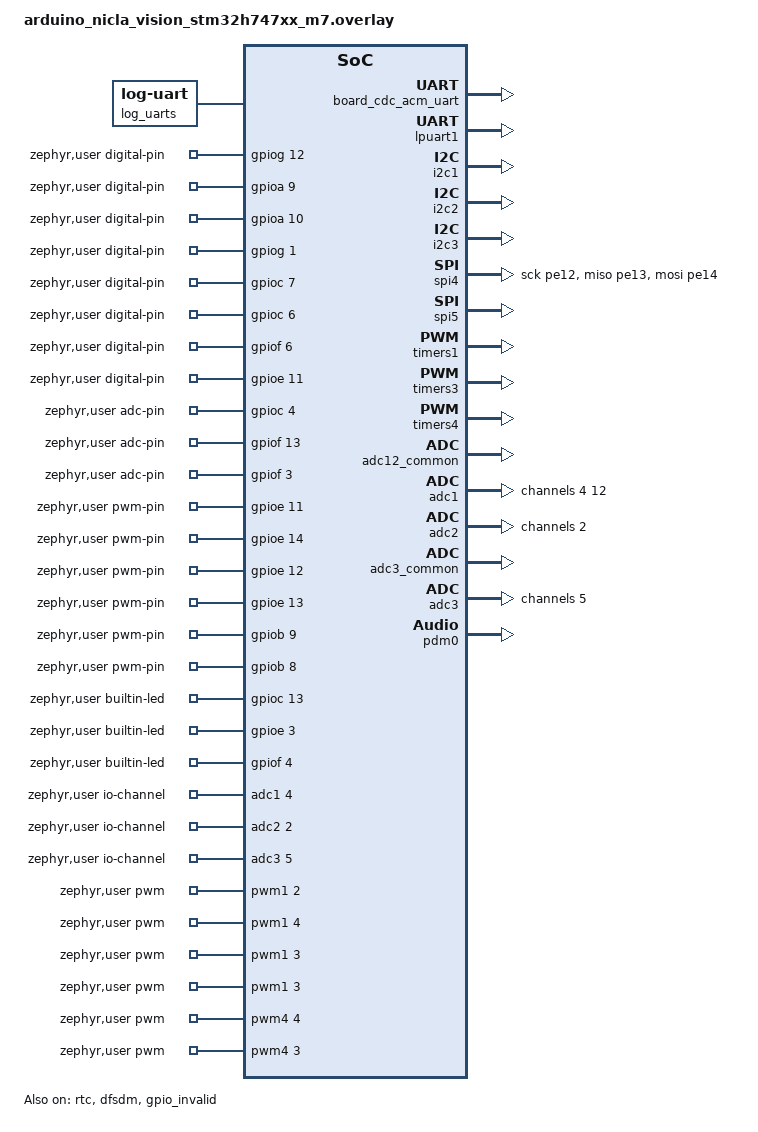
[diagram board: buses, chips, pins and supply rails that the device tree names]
/*
 * Copyright (c) Arduino s.r.l. and/or its affiliated companies
 *
 * SPDX-License-Identifier: Apache-2.0
 */

#include <zephyr/dt-bindings/pwm/stm32_pwm.h>

/* USB CDC-ACM UART for console */
&zephyr_udc0 {
    board_cdc_acm_uart: board_cdc_acm_uart {
        compatible = "zephyr,cdc-acm-uart";
        status = "okay";
    };
};

&lpuart1 {
	status = "okay";
    /* lpuart1 is not set as deferred-init to catch early boot logs since it is assigned to zephyr,console */
};

/* I2C buses */
&i2c1 {
    status = "okay";
    zephyr,deferred-init;
};

&i2c2 {
    status = "okay";
    zephyr,deferred-init;
};

&i2c3 {
    status = "okay";
    zephyr,deferred-init;
};

&gc2145 {
    zephyr,deferred-init;
};

&pwmclock {
    status = "okay";
    zephyr,deferred-init;
};

&dcmi {
    zephyr,deferred-init;

    dmas = <&dma1 1 75 (STM32_DMA_PERIPH_TO_MEMORY | STM32_DMA_PERIPH_NO_INC |
            STM32_DMA_MEM_INC | STM32_DMA_PERIPH_32BITS | STM32_DMA_MEM_32BITS |
            STM32_DMA_PRIORITY_HIGH) STM32_DMA_FIFO_FULL>;
};

/* SPI buses */
&spi4 {
    status = "okay";
    zephyr,deferred-init;
    pinctrl-0 = <&spi4_sck_pe12 &spi4_miso_pe13 &spi4_mosi_pe14>;
    pinctrl-names = "default";
};

&spi5 {
    status = "okay";
    zephyr,deferred-init;
};

&rtc {
    status = "okay";

    clocks = <&rcc STM32_CLOCK(APB4, 16U)>,
             <&rcc STM32_SRC_LSE RTC_SEL(1)>;
};

/* PWM Timers */
&timers1 {
    status = "okay";
    st,prescaler = <0>;

    pwm1: pwm {
        status = "okay";
        zephyr,deferred-init;
        pinctrl-0 = <>;
        pinctrl-1 = <>;
        pinctrl-2 = <&tim1_ch2_pe11 &tim1_ch4_pe14 &tim1_ch3n_pe12 &tim1_ch3_pe13>;
        pinctrl-names = "default", "sleep", "arduino";
    };
};

&timers3 {
	status = "okay";
	st,prescaler = <0>;

	cam_clock_pwm: pwm {
		status = "okay";
		zephyr,deferred-init;
		pinctrl-0 = <>;
		pinctrl-1 = <>;
		pinctrl-2 = <&tim3_ch2_pa7>;
		pinctrl-names = "default", "sleep", "arduino";
	};
};

&timers4 {
    status = "okay";
    st,prescaler = <100>;

    pwm4: pwm {
        status = "okay";
        zephyr,deferred-init;
        pinctrl-0 = <>;
        pinctrl-1 = <>;
        pinctrl-2 = <&tim4_ch4_pb9 &tim4_ch3_pb8>;
        pinctrl-names = "default", "sleep", "arduino";
    };
};

&adc12_common {
	st,adc-prescaler = <4>;
	st,adc-clock-source = "SYNC";
	status = "okay";
};

&adc1 {
    zephyr,deferred-init;
    pinctrl-0 = <>;
    pinctrl-1 = <>;
    pinctrl-2 = <&adc1_inp4_pc4>;
    pinctrl-names = "default", "sleep", "arduino";
    status = "okay";

    #address-cells = <1>;
    #size-cells = <0>;

    channel@4 {
        reg = <4>;
        zephyr,gain = "ADC_GAIN_1";
        zephyr,reference = "ADC_REF_INTERNAL";
        zephyr,acquisition-time = <ADC_ACQ_TIME_MAX>;
        zephyr,resolution = <16>;
    };

    channel@12 {
        reg = <12>;
        zephyr,gain = "ADC_GAIN_1";
        zephyr,reference = "ADC_REF_INTERNAL";
        zephyr,acquisition-time = <ADC_ACQ_TIME_MAX>;
        zephyr,resolution = <16>;
    };
};

&adc2 {
    zephyr,deferred-init;
    pinctrl-0 = <>;
    pinctrl-1 = <>;
    pinctrl-2 = <&adc2_inp2_pf13>;
    pinctrl-names = "default", "sleep", "arduino";
    status = "okay";

    #address-cells = <1>;
    #size-cells = <0>;

    channel@2 {
        reg = <2>;
        zephyr,gain = "ADC_GAIN_1";
        zephyr,reference = "ADC_REF_INTERNAL";
        zephyr,acquisition-time = <ADC_ACQ_TIME_MAX>;
        zephyr,resolution = <16>;
    };
};

&adc3_common {
	st,adc-prescaler = <4>;
	st,adc-clock-source = "SYNC";
	status = "okay";
};

&adc3 {
    zephyr,deferred-init;
    pinctrl-0 = <>;
    pinctrl-1 = <>;
    pinctrl-2 = <&adc3_inp5_pf3>;
    pinctrl-names = "default", "sleep", "arduino";
    status = "okay";

    #address-cells = <1>;
    #size-cells = <0>;

    channel@5 {
        reg = <5>;
        zephyr,gain = "ADC_GAIN_1";
        zephyr,reference = "ADC_REF_INTERNAL";
        zephyr,acquisition-time = <ADC_ACQ_TIME_MAX>;
        zephyr,resolution = <16>;
    };
};

/ {

    chosen {
        zephyr,console = &lpuart1;
        zephyr,shell-uart = &lpuart1;
        zephyr,log-uart = &log_uarts;
        arduino,camera-clock = &pwmclock;
    };

	log_uarts: log_uarts {
		compatible = "zephyr,log-uart";
		uarts = <&lpuart1 &board_cdc_acm_uart>;
	};

    /* used to overcome problems with _C analog pins */
    gpio_invalid: gpio@deadbeef {
        compatible = "vnd,gpio";
        gpio-controller;
        reg = <0xdeadbeef 0x1000>;
        #gpio-cells = <0x2>;
        status = "okay";
    };
};

/*
 * Custom partition layout for Arduino Core compatibility:
 * - mcuboot: 256KB bootloader
 * - image-0: 640KB loader slot
 * - user_sketch: rest of Flash
 */

&flash0 {
	reg = <0x8000000 DT_SIZE_K(2048)>;     /* assign all Flash to the M7 */
	status = "okay";

	partitions {
		slot0_partition: partition@40000 {
			compatible = "zephyr,mapped-partition";
			label = "image-0";
			reg = <0x00040000 0x000A0000>;
		};

		user_sketch: partition@e0000 {
			compatible = "zephyr,mapped-partition";
			label = "user_sketch";
			reg = <0x000E0000 0x00120000>;
		};
	};
};

/ {
    zephyr,user {
        digital-pin-gpios = <&gpiog 12 GPIO_ACTIVE_HIGH>, /* D0 D0 */
                            <&gpioa 9 GPIO_ACTIVE_HIGH>, /* D1 D1 TX */
                            <&gpioa 10 GPIO_ACTIVE_HIGH>, /* D2 D2 RX */
                            <&gpiog 1 GPIO_ACTIVE_HIGH>, /* D3 D3 */
                            <&gpioc 7 GPIO_ACTIVE_HIGH>, /* D4 D4 */
                            <&gpioc 6 GPIO_ACTIVE_HIGH>, /* D5 D5 */
                            <&gpiof 6 GPIO_ACTIVE_HIGH>, /* D6 SPI1 SS */
                            <&gpioe 11 GPIO_ACTIVE_HIGH>, /* D7 SPI SS */
                            <&gpioe 14 GPIO_ACTIVE_HIGH>, /* D8 SPI MOSI */
                            <&gpioe 12 GPIO_ACTIVE_HIGH>, /* D9 SPI SCK */
                            <&gpioe 13 GPIO_ACTIVE_HIGH>, /* D10 SPI MISO */
                            <&gpiob 9 GPIO_ACTIVE_HIGH>, /* D11 Wire SDA */
                            <&gpiob 8 GPIO_ACTIVE_HIGH>, /* D12 Wire SCL */
                            <&gpioc 9 GPIO_ACTIVE_HIGH>, /* D13 Wire2 SDA */
                            <&gpioa 8 GPIO_ACTIVE_HIGH>, /* D14 Wire2 SCL */
                            <&gpioc 4 GPIO_ACTIVE_HIGH>, /* D15 A0 */
                            <&gpiof 13 GPIO_ACTIVE_HIGH>, /* D16 A1 */
                            <&gpiof 3 GPIO_ACTIVE_HIGH>, /* D17 A2 */
                            <&gpio_invalid 0 GPIO_ACTIVE_HIGH>, /* D18 Reserved (I2C3 SDA) */
                            <&gpio_invalid 1 GPIO_ACTIVE_HIGH>, /* D19 Reserved (I2C3 SCL) */
                            <&gpiof 11 GPIO_ACTIVE_HIGH>, /* D20 SPI1 MOSI */
                            <&gpiof 7 GPIO_ACTIVE_HIGH>, /* D21 SPI1 SCK */
                            <&gpiof 8 GPIO_ACTIVE_HIGH>, /* D22 SPI1 MISO */
                            <&gpioe 3 GPIO_ACTIVE_HIGH>, /* D23 LEDR */
                            <&gpioc 13 GPIO_ACTIVE_HIGH>, /* D24 LEDG */
                            <&gpiof 4 GPIO_ACTIVE_HIGH>, /* D25 LEDB */
                            <&gpioa 0 GPIO_ACTIVE_HIGH>, /* D26 PA0 */
                            <&gpioa 1 GPIO_ACTIVE_HIGH>, /* D27 IMU interrupt */
                            <&gpiog 0 GPIO_ACTIVE_HIGH>, /* D28 SE05X_EN */
                            <&gpio_invalid 2 GPIO_ACTIVE_HIGH>, /* D29 Reserved */
                            <&gpio_invalid 3 GPIO_ACTIVE_HIGH>, /* D30 Reserved */
                            <&gpio_invalid 4 GPIO_ACTIVE_HIGH>, /* D31 Reserved */
                            <&gpio_invalid 5 GPIO_ACTIVE_HIGH>, /* D32 Reserved */
                            <&gpio_invalid 6 GPIO_ACTIVE_HIGH>, /* D33 Reserved */
			    <&gpiog 10 GPIO_ACTIVE_HIGH>; /* D34 VL53L1CB XSHUT */

        adc-pin-gpios = <&gpioc 4 GPIO_ACTIVE_HIGH>,   /* A0 PC4  */
                        <&gpiof 13 GPIO_ACTIVE_HIGH>,   /* A1 PF13 */
                        <&gpiof 3 GPIO_ACTIVE_HIGH>;    /* A2 PF3  */

        pwm-pin-gpios = <&gpioe 11 GPIO_ACTIVE_HIGH>,  /* D7  PE11 pwm1 ch2  */
                        <&gpioe 14 GPIO_ACTIVE_HIGH>,   /* D8  PE14 pwm1 ch4  */
                        <&gpioe 12 GPIO_ACTIVE_HIGH>,   /* D9  PE12 pwm1 ch3n */
                        <&gpioe 13 GPIO_ACTIVE_HIGH>,   /* D10 PE13 pwm1 ch3  */
                        <&gpiob 9 GPIO_ACTIVE_HIGH>,    /* D11 PB9  pwm4 ch4  */
                        <&gpiob 8 GPIO_ACTIVE_HIGH>;    /* D12 PB8  pwm4 ch3  */

        serials = <&board_cdc_acm_uart>, <&usart1>, <&lpuart1>;
        cdc-acm-serial = <&board_cdc_acm_uart>;

        i2cs = <&i2c1>, <&i2c2>, <&i2c3>;
        spis = <&spi4>, <&spi5>;

        io-channels = <&adc1 4>,
                  <&adc2 2>,
                  <&adc3 5>;

        builtin-led-gpios = <&gpioc 13 GPIO_ACTIVE_HIGH>, /* Green LED PC_13 (LED_BUILTIN) */
                            <&gpioe 3 GPIO_ACTIVE_HIGH>,  /* Red LED PE_3 */
                            <&gpiof 4 GPIO_ACTIVE_HIGH>;  /* Blue LED PF_4 */

        /*
         * PWM channels: timers1(ch2,ch4,ch3n,ch3), timers4(ch4,ch3).
         * D9 (CH3N) and D10 (CH3) share the same channel, and duty cycle.
         */
        pwms =  <&pwm1 2 PWM_HZ(1000) PWM_POLARITY_NORMAL>,
                <&pwm1 4 PWM_HZ(1000) PWM_POLARITY_NORMAL>,
                <&pwm1 3 PWM_HZ(1000) (PWM_POLARITY_NORMAL | STM32_PWM_COMPLEMENTARY)>,
                <&pwm1 3 PWM_HZ(1000) PWM_POLARITY_NORMAL>,
                <&pwm4 4 PWM_HZ(1000) PWM_POLARITY_NORMAL>,
                <&pwm4 3 PWM_HZ(1000) PWM_POLARITY_NORMAL>;
    };
};

&sram1 {
	reg = <0x30000000 DT_SIZE_K(256)>;
};

/delete-node/ &sram2;

&pll2 {
	status = "okay";
};

dfsdm: &dfsdm {
	zephyr,deferred-init;
	status = "okay";
};

dmic_dev: &pdm0 {
	zephyr,deferred-init;
	filter-order = <5>;
	status = "okay";
};

/* Include common flash filesystem configuration */
qspi_flash: &n25q128a1 {};
#include "../common/arduino_flash_fs.dtsi"
